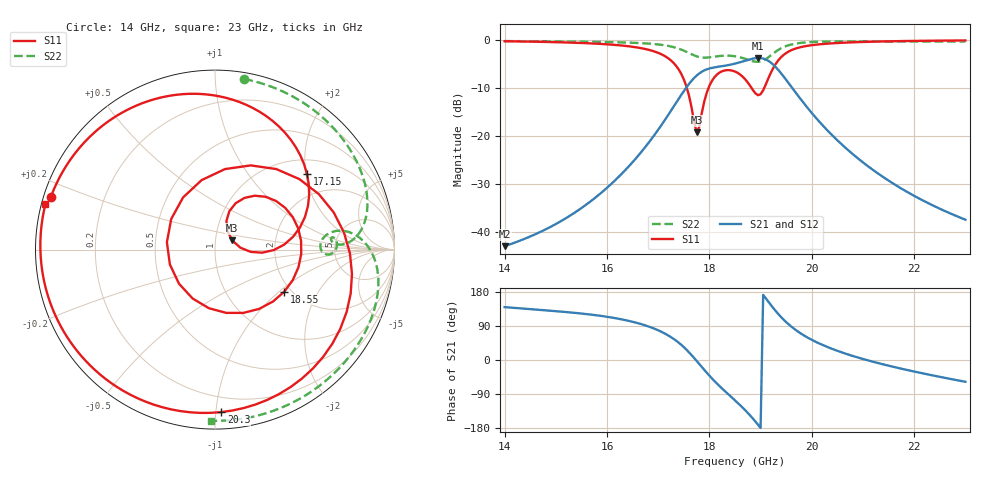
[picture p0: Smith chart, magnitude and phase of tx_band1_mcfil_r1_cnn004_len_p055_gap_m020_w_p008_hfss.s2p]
! Touchstone file exported from HFSS 3D Layout Design 2026.1.0
!  File:  D:/Work/SIM/ADS_AUTO_SIM/projects/RFSOC_RF/TX_Fillter.aedt
!  Generated:  09:45:22 PM Aug 30, 2026
!  Design:  TX_BAND1_MCFIL_R1_CNN004
!  Project:  TX_Fillter
# GHz S MA R 50.000000
! Terminal data exported
! Port[1] = Port1
! Port[2] = Port2
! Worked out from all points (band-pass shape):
!   181 points, 14 GHz to 23 GHz, reference 50 ohm
!   highest |S21| = -3.83 dB at 18.95 GHz (marker M1); lowest = -42.8 dB at 14 GHz (marker M2)
!   |S21| within 3 dB of the highest: 17.83 GHz to 19.39 GHz (1.557 GHz wide, 8.37 % of centre)
!   lowest |S11| = -19.3 dB at 17.75 GHz (marker M3), VSWR 1.24, Z = 60.3 + j6.22 ohm
!   |S11| at or under -10 dB: 17.56 GHz to 17.99 GHz (427.6 MHz wide, 2.41 % of centre); 18.82 GHz to 19.07 GHz (251.9 MHz wide, 1.33 % of centre)
!   |S22| runs from -4.6 to -0.3 dB; largest |S21 - S12| = 1.3e-15
!   S11 on the Smith chart (normalised r, x): 14 GHz: 0.02, +0.16; 17.15 GHz: 1.35, +2.03; 18.55 GHz: 1.84, -1.09; 20.3 GHz: 0.10, -1.03; 23 GHz: 0.01, +0.13
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14  0.9603 162.2  0.007208 139.6  0.007208 139.6  0.9641 80.2
15.5  0.921 123.4  0.01788 122.6  0.01788 122.6  0.9499 51.2
16.4  0.8542 88.3  0.04683 104.0  0.04683 104.0  0.9298 32.1
17  0.7274 51.8  0.1162 78.4  0.1162 78.4  0.8894 17.3
17.15  0.6636 39.4  0.1519 68.4  0.1519 68.4  0.8672 13.1
17.5  0.3866 4.1  0.2917 34.0  0.2917 34.0  0.7673 3.9
17.75  0.1089 27.9  0.4228 -2.3  0.4228 -2.3  0.6699 2.8
18.1  0.4074 46.3  0.5146 -55.8  0.5146 -55.8  0.6648 5.8
18.3  0.4784 14.3  0.5347 -81.9  0.5347 -81.9  0.6805 3.3
18.5  0.4655 -21.3  0.5627 -106.6  0.5627 -106.6  0.6701 -0.3
18.55  0.4516 -31.3  0.5719 -112.8  0.5719 -112.8  0.6628 -1.1
18.75  0.3582 -79.9  0.6149 -139.6  0.6149 -139.6  0.6191 -2.4
18.95  0.2647 -161.7  0.6437 -170.8  0.6437 -170.8  0.5869 2.1
19.1  0.3408 121.5  0.6216 162.9  0.6216 162.9  0.6258 7.5
19.3  0.5637 52.8  0.5154 128.4  0.5154 128.4  0.7524 7.5
19.45  0.6932 17.4  0.4139 106.3  0.4139 106.3  0.8353 2.7
19.6  0.7752 -10.1  0.3242 88.1  0.3242 88.1  0.8879 -3.0
20  0.874 -61.3  0.1731 53.2  0.1731 53.2  0.9423 -16.9
20.3  0.906 -87.8  0.115 34.6  0.115 34.6  0.9528 -25.7
20.85  0.9381 -122.8  0.06163 8.6  0.06163 8.6  0.9567 -40.0
21.5  0.9585 -151.7  0.03445 -15.1  0.03445 -15.1  0.9561 -55.8
23  0.9781 164.9  0.01357 -57.5  0.01357 -57.5  0.9541 -91.3
